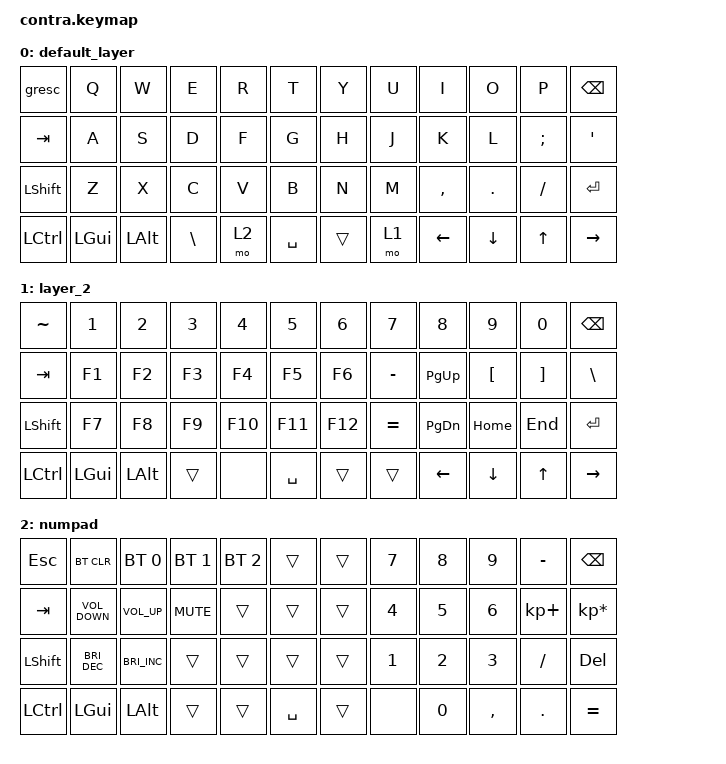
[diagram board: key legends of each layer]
/*
 * Copyright (c) 2021 The ZMK Contributors
 *
 * SPDX-License-Identifier: MIT
 */

#include <behaviors.dtsi>
#include <dt-bindings/zmk/keys.h>
#include <dt-bindings/zmk/bt.h>

/ {
    keymap {
        compatible = "zmk,keymap";

        default_layer {
            bindings = <
&gresc		      &kp Q         &kp W         &kp E          &kp R  &kp T      &kp Y   &kp U  &kp I      &kp O       &kp P          &kp BACKSPACE
&kp TAB			  &kp A         &kp S         &kp D          &kp F  &kp G      &kp H   &kp J  &kp K      &kp L       &kp SEMICOLON  &kp SINGLE_QUOTE
&kp LSHIFT        &kp Z         &kp X         &kp C          &kp V  &kp B      &kp N   &kp M  &kp COMMA  &kp PERIOD  &kp SLASH      &kp ENTER
&kp LEFT_CONTROL  &kp LEFT_GUI  &kp LEFT_ALT  &kp BACKSLASH  &mo 2  &kp SPACE  &trans  &mo 1  &kp LEFT   &kp DOWN    &kp UP         &kp RIGHT
            >;
        };

        layer_2 {
            bindings = <
&kp TILDE  &kp N1    &kp N2    &kp N3  &kp N4   &kp N5     &kp N6   &kp N7     &kp N8         &kp N9            &kp N0             &kp BSPC
&kp TAB    &kp F1    &kp F2    &kp F3  &kp F4   &kp F5     &kp F6   &kp MINUS  &kp PAGE_UP    &kp LEFT_BRACKET  &kp RIGHT_BRACKET  &kp BACKSLASH
&kp LSHFT  &kp F7    &kp F8    &kp F9  &kp F10  &kp F11    &kp F12  &kp EQUAL  &kp PAGE_DOWN  &kp HOME          &kp END            &kp ENTER
&kp LCTRL  &kp LGUI  &kp LALT  &trans  &none    &kp SPACE  &trans   &trans     &kp LEFT       &kp DOWN          &kp UP             &kp RIGHT
            >;
        };

        numpad {
            bindings = <
&kp ESC    &bt BT_CLR            &bt BT_SEL 0          &bt BT_SEL 1  &bt BT_SEL 2  &trans     &trans  &kp N7  &kp N8  &kp N9     &kp MINUS    &kp BSPC
&kp TAB    &kp C_VOLUME_DOWN     &kp C_VOLUME_UP       &kp K_MUTE    &trans        &trans     &trans  &kp N4  &kp N5  &kp N6     &kp KP_PLUS  &kp KP_MULTIPLY
&kp LSHFT  &kp C_BRIGHTNESS_DEC  &kp C_BRIGHTNESS_INC  &trans        &trans        &trans     &trans  &kp N1  &kp N2  &kp N3     &kp FSLH     &kp DEL
&kp LCTRL  &kp LGUI              &kp LALT              &trans        &trans        &kp SPACE  &trans  &none   &kp N0  &kp COMMA  &kp DOT      &kp EQUAL
            >;
        };
    };
};
